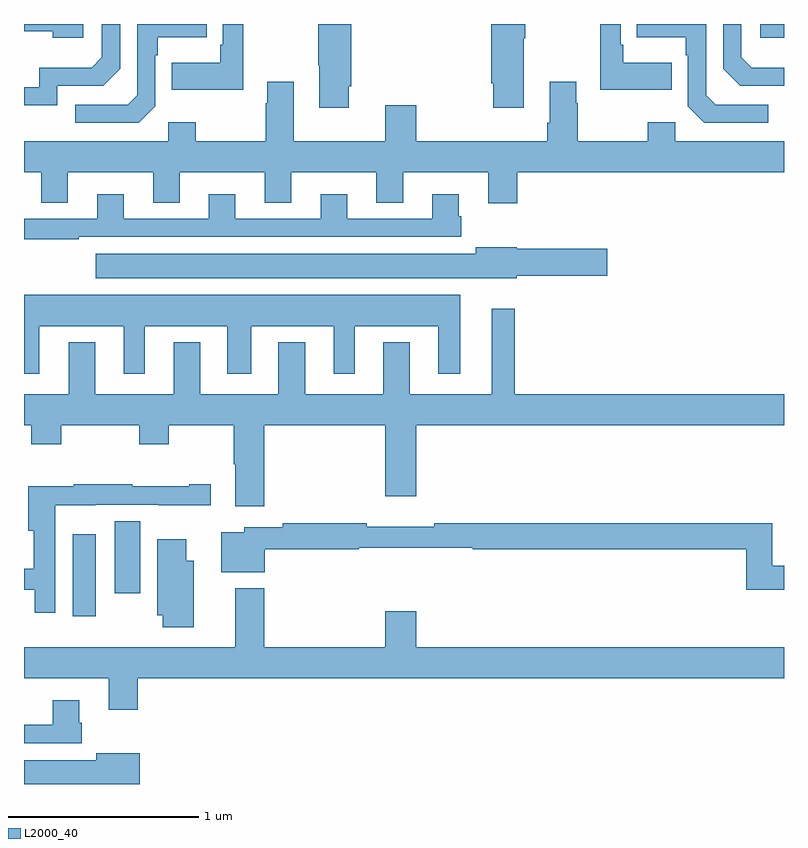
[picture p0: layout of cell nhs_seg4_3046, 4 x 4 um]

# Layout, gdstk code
import gdstk
lib = gdstk.Library(unit=1e-6, precision=1e-09)
def R(c, l, rs):  # rectangles x0, y0, x1, y1
    for r in rs: c.add(gdstk.rectangle(r[:2], r[2:], *l))
def P(c, l, *ps):  # polygons
    for p in ps: c.add(gdstk.Polygon(p, *l))
L2000_40 = (2000, 40)

nhs_seg4_3046 = lib.new_cell('nhs_seg4_3046')
R(nhs_seg4_3046, L2000_40, [(271.256,827.784,271.378,828.214), (271.478,827.904,271.612,828.284), (274.875,830.828,275,830.9)])
P(nhs_seg4_3046, L2000_40, [(274.409,830.695),(274.153,830.695),(274.153,830.791),(274.14,830.791),(274.14,830.9),(274.032,830.9),(274.032,830.555),(274.409,830.555)],
  [(273.631,830.825),(273.639,830.825),(273.639,830.9),(273.458,830.9),(273.458,830.589),(273.469,830.589),(273.469,830.46),(273.631,830.46)],
  [(275,830.671),(274.829,830.671),(274.776,830.724),(274.776,830.9),(274.68,830.9),(274.68,830.664),(274.77,830.574),(275,830.574)],
  [(274.918,830.475),(274.641,830.475),(274.59,830.526),(274.59,830.9),(274.225,830.9),(274.225,830.831),(274.482,830.831),(274.482,830.735),(274.494,830.735),(274.494,830.466),(274.581,830.379),(274.918,830.379)],
  [(271.692,830.466),(271.692,830.735),(271.705,830.735),(271.705,830.831),(271.961,830.831),(271.961,830.9),(271.596,830.9),(271.596,830.526),(271.545,830.475),(271.269,830.475),(271.269,830.379),(271.605,830.379)],
  [(271.312,830.9),(271,830.9),(271,830.862),(271.151,830.862),(271.151,830.828),(271.312,830.828)],
  [(272.155,830.9),(272.046,830.9),(272.046,830.791),(272.034,830.791),(272.034,830.695),(271.777,830.695),(271.777,830.555),(272.155,830.555)],
  [(272.71,830.572),(272.723,830.572),(272.723,830.9),(272.548,830.9),(272.548,830.683),(272.555,830.683),(272.555,830.46),(272.71,830.46)],
  [(271.176,830.574),(271.416,830.574),(271.506,830.664),(271.506,830.9),(271.41,830.9),(271.41,830.724),(271.357,830.671),(271.08,830.671),(271.08,830.568),(271,830.568),(271,830.472),(271.176,830.472)],
  [(273.596,830.12),(275,830.12),(275,830.284),(274.428,830.284),(274.428,830.383),(274.282,830.383),(274.282,830.284),(273.915,830.284),(273.915,830.483),(273.907,830.483),(273.907,830.596),(273.767,830.596),(273.767,830.38),(273.755,830.38),(273.755,830.284),(273.064,830.284),(273.064,830.473),(272.9,830.473),(272.9,830.284),(272.419,830.284),(272.419,830.596),(272.279,830.596),(272.279,830.483),(272.272,830.483),(272.272,830.284),(271.905,830.284),(271.905,830.383),(271.758,830.383),(271.758,830.284),(271,830.284),(271,830.12),(271.091,830.12),(271.091,829.96),(271.231,829.96),(271.231,830.12),(271.679,830.12),(271.679,829.96),(271.819,829.96),(271.819,830.12),(272.267,830.12),(272.267,829.96),(272.407,829.96),(272.407,830.12),(272.855,830.12),(272.855,829.96),(272.995,829.96),(272.995,830.12),(273.443,830.12),(273.443,829.956),(273.596,829.956)],
  [(271.289,829.779),(273.302,829.779),(273.302,829.887),(273.289,829.887),(273.289,830.005),(273.149,830.005),(273.149,829.875),(272.701,829.875),(272.701,830.005),(272.561,830.005),(272.561,829.875),(272.113,829.875),(272.113,830.005),(271.973,830.005),(271.973,829.875),(271.525,829.875),(271.525,830.005),(271.385,830.005),(271.385,829.875),(271,829.875),(271,829.767),(271.289,829.767)],
  [(273.594,829.574),(274.069,829.574),(274.069,829.716),(273.594,829.716),(273.594,829.726),(273.377,829.726),(273.377,829.69),(271.377,829.69),(271.377,829.562),(273.594,829.562)],
  [(271.081,829.31),(271.526,829.31),(271.526,829.059),(271.636,829.059),(271.636,829.31),(272.069,829.31),(272.069,829.059),(272.197,829.059),(272.197,829.31),(272.63,829.31),(272.63,829.059),(272.74,829.059),(272.74,829.31),(273.179,829.31),(273.179,829.059),(273.295,829.059),(273.295,829.474),(271,829.474),(271,829.059),(271.081,829.059)],
  [(272.264,828.788),(272.9,828.788),(272.9,828.414),(273.064,828.414),(273.064,828.788),(275,828.788),(275,828.952),(273.583,828.952),(273.583,829.402),(273.461,829.402),(273.461,828.952),(273.031,828.952),(273.031,829.225),(272.891,829.225),(272.891,828.952),(272.479,828.952),(272.479,829.225),(272.339,829.225),(272.339,828.952),(271.927,828.952),(271.927,829.225),(271.787,829.225),(271.787,828.952),(271.375,828.952),(271.375,829.225),(271.235,829.225),(271.235,828.952),(271,828.952),(271,828.788),(271.037,828.788),(271.037,828.689),(271.197,828.689),(271.197,828.788),(271.606,828.788),(271.606,828.689),(271.761,828.689),(271.761,828.788),(272.104,828.788),(272.104,828.584),(272.111,828.584),(272.111,828.363),(272.264,828.363)],
  [(271.164,828.368),(271.374,828.368),(271.374,828.369),(271.708,828.369),(271.708,828.368),(271.984,828.368),(271.984,828.478),(271.871,828.478),(271.871,828.468),(271.571,828.468),(271.571,828.478),(271.261,828.478),(271.261,828.468),(271.022,828.468),(271.022,828.233),(271.052,828.233),(271.052,828.032),(271,828.032),(271,827.922),(271.056,827.922),(271.056,827.802),(271.164,827.802)],
  [(275,828.05),(274.937,828.05),(274.937,828.272),(273.16,828.272),(273.16,828.253),(272.804,828.253),(272.804,828.272),(272.362,828.272),(272.362,828.252),(272.16,828.252),(272.16,828.226),(272.039,828.226),(272.039,828.014),(272.266,828.014),(272.266,828.136),(272.762,828.136),(272.762,828.144),(273.362,828.144),(273.362,828.136),(274.801,828.136),(274.801,827.922),(275,827.922)],
  [(271.894,828.076),(271.855,828.076),(271.855,828.187),(271.7,828.187),(271.7,827.789),(271.729,827.789),(271.729,827.724),(271.894,827.724)],
  [(271.598,827.456),(275,827.456),(275,827.62),(273.064,827.62),(273.064,827.809),(272.9,827.809),(272.9,827.62),(272.264,827.62),(272.264,827.929),(272.111,827.929),(272.111,827.62),(271,827.62),(271,827.456),(271.445,827.456),(271.445,827.292),(271.598,827.292)],
  [(271.304,827.223),(271.291,827.223),(271.291,827.341),(271.151,827.341),(271.151,827.211),(271,827.211),(271,827.115),(271.304,827.115)],
  [(271.609,827.062),(271.379,827.062),(271.379,827.026),(271,827.026),(271,826.9),(271.609,826.9)])

lib.write_gds('nhs_seg4_3046.gds')
